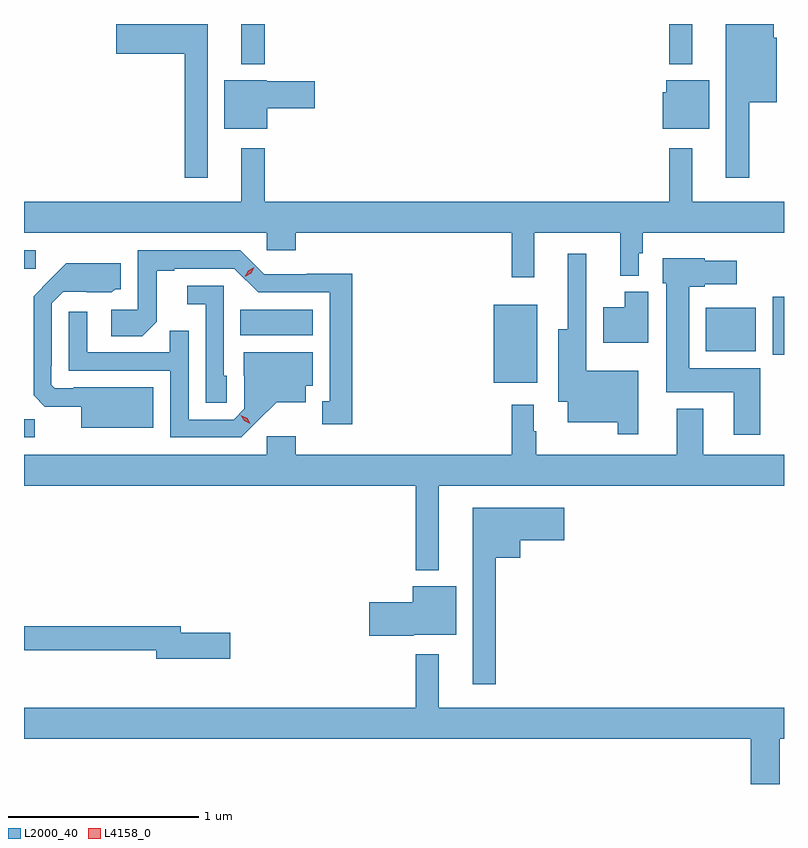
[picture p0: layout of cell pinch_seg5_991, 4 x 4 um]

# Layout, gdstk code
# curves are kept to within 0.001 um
import gdstk
lib = gdstk.Library(unit=1e-6, precision=1e-09)
def R(c, l, rs):  # rectangles x0, y0, x1, y1
    for r in rs: c.add(gdstk.rectangle(r[:2], r[2:], *l))
def P(c, l, *ps):  # polygons
    for p in ps: c.add(gdstk.Polygon(p, *l))
L2000_40 = (2000, 40)
L4158_0 = (4158, 0)

pinch_seg5_991 = lib.new_cell('pinch_seg5_991')
R(pinch_seg5_991, L2000_40, [(711.655,839.7,711.711,839.795), (714.128,839.987,714.355,840.397), (715.595,840.134,715.655,840.439), (715.244,840.152,715.507,840.382), (712.792,840.236,713.176,840.37), (711.655,840.588,711.718,840.684), (712.799,841.664,712.921,841.875), (715.05,841.664,715.171,841.875)])
P(pinch_seg5_991, L2000_40, [(715.471,841.463),(715.618,841.463),(715.618,841.803),(715.6,841.803),(715.6,841.875),(715.349,841.875),(715.349,841.065),(715.471,841.065)],
  [(712.621,841.875),(712.14,841.875),(712.14,841.718),(712.5,841.718),(712.5,841.065),(712.621,841.065)],
  [(715.261,841.579),(715.034,841.579),(715.034,841.515),(715.016,841.515),(715.016,841.325),(715.261,841.325)],
  [(712.936,841.432),(713.185,841.432),(713.185,841.574),(712.932,841.574),(712.932,841.579),(712.709,841.579),(712.709,841.325),(712.936,841.325)],
  [(714.341,840.776),(714.794,840.776),(714.794,840.551),(714.891,840.551),(714.891,840.669),(714.911,840.669),(714.911,840.776),(715.655,840.776),(715.655,840.94),(715.171,840.94),(715.171,841.222),(715.05,841.222),(715.05,840.94),(712.921,840.94),(712.921,841.222),(712.799,841.222),(712.799,840.94),(711.655,840.94),(711.655,840.776),(712.932,840.776),(712.932,840.683),(713.084,840.683),(713.084,840.776),(714.223,840.776),(714.223,840.543),(714.341,840.543)],
  [(713.383,840.56),(713.142,840.56),(713.142,840.558),(712.92,840.558),(712.794,840.684),(712.254,840.684),(712.254,840.372),(712.113,840.372),(712.113,840.232),(712.277,840.232),(712.353,840.308),(712.353,840.576),(712.447,840.576),(712.447,840.588),(712.761,840.588),(712.887,840.462),(713.264,840.462),(713.264,839.889),(713.225,839.889),(713.225,839.769),(713.383,839.769)],
  [(714.888,840.049),(714.615,840.049),(714.615,840.667),(714.518,840.667),(714.518,840.268),(714.467,840.268),(714.467,839.888),(714.518,839.888),(714.518,839.78),(714.78,839.78),(714.78,839.715),(714.888,839.715)],
  [(715.531,840.064),(715.156,840.064),(715.156,840.491),(715.239,840.491),(715.239,840.506),(715.405,840.506),(715.405,840.628),(715.239,840.628),(715.239,840.643),(715.017,840.643),(715.017,840.51),(715.034,840.51),(715.034,839.936),(715.391,839.936),(715.391,839.712),(715.531,839.712)],
  [(712.336,839.962),(711.916,839.962),(711.916,839.958),(711.816,839.958),(711.798,839.976),(711.798,840.076),(711.801,840.076),(711.801,840.405),(711.861,840.465),(712.118,840.464),(712.134,840.48),(712.165,840.48),(712.165,840.616),(711.877,840.616),(711.705,840.442),(711.705,839.92),(711.764,839.861),(711.956,839.861),(711.956,839.75),(712.336,839.75)],
  [(712.722,840.024),(712.707,840.024),(712.707,840.498),(712.515,840.498),(712.515,840.401),(712.611,840.401),(712.611,839.881),(712.722,839.881)],
  [(714.94,840.466),(714.818,840.466),(714.818,840.385),(714.704,840.385),(714.704,840.197),(714.94,840.197)],
  [(712.882,839.783),(712.985,839.885),(713.137,839.885),(713.137,839.972),(713.176,839.972),(713.176,840.148),(712.811,840.148),(712.811,840.024),(712.815,840.024),(712.815,839.85),(712.758,839.793),(712.521,839.793),(712.521,840.26),(712.423,840.26),(712.423,840.147),(711.987,840.147),(711.987,840.361),(711.891,840.361),(711.891,840.051),(712.425,840.051),(712.425,839.7),(712.798,839.7)],
  [(713.839,839.444),(715.655,839.444),(715.655,839.608),(715.231,839.608),(715.231,839.851),(715.091,839.851),(715.091,839.608),(714.352,839.608),(714.352,839.732),(714.339,839.732),(714.339,839.872),(714.223,839.872),(714.223,839.608),(713.084,839.608),(713.084,839.704),(712.932,839.704),(712.932,839.608),(711.655,839.608),(711.655,839.444),(713.718,839.444),(713.718,839),(713.839,839)],
  [(714.139,839.066),(714.268,839.066),(714.268,839.159),(714.499,839.159),(714.499,839.329),(714.017,839.329),(714.017,838.401),(714.139,838.401)],
  [(713.706,838.661),(713.929,838.661),(713.929,838.915),(713.702,838.915),(713.702,838.832),(713.472,838.832),(713.472,838.654),(713.706,838.654)],
  [(712.741,838.67),(712.48,838.67),(712.48,838.706),(711.655,838.706),(711.655,838.578),(712.352,838.578),(712.352,838.535),(712.741,838.535)],
  [(715.633,838.112),(715.655,838.112),(715.655,838.276),(713.839,838.276),(713.839,838.558),(713.718,838.558),(713.718,838.276),(711.655,838.276),(711.655,838.112),(715.481,838.112),(715.481,837.875),(715.633,837.875)])
P(pinch_seg5_991, L4158_0, [(712.846,839.772),(712.815,839.786),(712.797,839.816),(712.797,839.816),(712.797,839.816),(712.829,839.801),(712.847,839.772),(712.847,839.772)],
  [(712.818,840.544),(712.818,840.545),(712.836,840.577),(712.867,840.596),(712.868,840.596),(712.868,840.596),(712.85,840.563),(712.818,840.544)])

lib.write_gds('pinch_seg5_991.gds')
